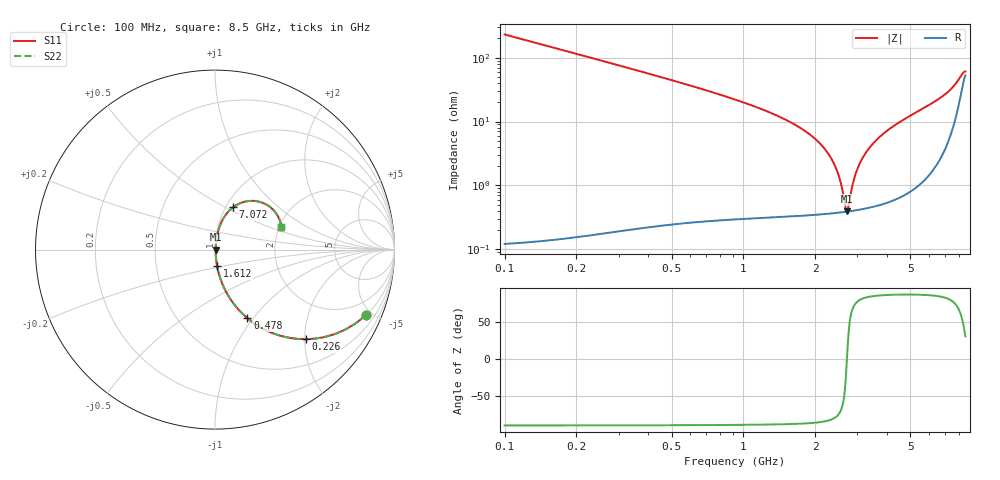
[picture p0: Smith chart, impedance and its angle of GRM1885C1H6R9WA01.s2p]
!Murata Part Number: GRM1885C1H6R9WA01
!These Parameters are Measured in Series Mode Connection
!Data Generated on Mar 30, 2021
!  o--ll--o
!Port1  Port2
!  o------o
!Operation Temp=25[degC], DC Bias Voltage=0[V]
!Freq. Start=100[MHz] Stop=9[GHz] 401[Steps]
# Hz S RI R 50
!Freq.(Hz) S11(Real) S11(Imag) S21(Real) S21(Imag) S12(Real) S12(Imag) S22(Real) S22(Imag)
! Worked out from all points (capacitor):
!   401 points, 100 MHz to 8.5 GHz, reference 50 ohm
!   read as one part in series: C = 6.9 pF near 142 MHz
!   lowest |Z| = 394 mohm at 2.704 GHz (marker M1)
!   series resonance near 2.713 GHz, so ESL is about 500 pH
!   S11 on the Smith chart (normalised r, x): 100 MHz: 1.00, -4.61; 226 MHz: 1.00, -2.03; 478 MHz: 1.00, -0.93; 1.612 GHz: 1.01, -0.19; 7.072 GHz: 1.08, +0.55; 8.5 GHz: 2.05, +0.61
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1e8  0.8412 -0.3652  0.1588 0.3652  0.1588 0.3652  0.8412 -0.3652
2.26e8  0.5063 -0.4991  0.4937 0.4991  0.4937 0.4991  0.5063 -0.4991
3.31e8  0.3203 -0.4651  0.6797 0.4651  0.6797 0.4651  0.3203 -0.4651
4.78e8  0.1803 -0.3819  0.8197 0.3819  0.8197 0.3819  0.1803 -0.3819
8.35e8  0.0612 -0.234  0.9388 0.234  0.9388 0.234  0.0612 -0.234
1.507e9  0.0143 -0.1045  0.9857 0.1045  0.9857 0.1045  0.0143 -0.1045
1.612e9  0.0118 -0.0917  0.9882 0.0917  0.9882 0.0917  0.0118 -0.0917
2.032e9  0.00599 -0.0499  0.994 0.0499  0.994 0.0499  0.00599 -0.0499
2.326e9  0.00434 -0.0265  0.9957 0.0265  0.9957 0.0265  0.00434 -0.0265
2.515e9  0.00392 -0.0131  0.9961 0.0131  0.9961 0.0131  0.00392 -0.0131
2.704e9  0.00388 -0.000589  0.9961 0.000589  0.9961 0.000589  0.00388 -0.000589
2.746e9  0.00391 0.00207  0.9961 -0.00207  0.9961 -0.00207  0.00391 0.00207
2.914e9  0.00419 0.0124  0.9958 -0.0124  0.9958 -0.0124  0.00419 0.0124
3.103e9  0.00476 0.0234  0.9952 -0.0234  0.9952 -0.0234  0.00476 0.0234
3.376e9  0.00598 0.0386  0.994 -0.0386  0.994 -0.0386  0.00598 0.0386
3.775e9  0.00855 0.0594  0.9914 -0.0594  0.9914 -0.0594  0.00855 0.0594
4.3e9  0.0133 0.0856  0.9867 -0.0856  0.9867 -0.0856  0.0133 0.0856
5.707e9  0.0369 0.1555  0.9631 -0.1555  0.9631 -0.1555  0.0369 0.1555
7.072e9  0.1015 0.2365  0.8985 -0.2365  0.8985 -0.2365  0.1015 0.2365
7.114e9  0.1053 0.2392  0.8947 -0.2392  0.8947 -0.2392  0.1053 0.2392
7.975e9  0.2496 0.2658  0.7504 -0.2658  0.7504 -0.2658  0.2496 0.2658
8.5e9  0.3697 0.1253  0.6303 -0.1253  0.6303 -0.1253  0.3697 0.1253
